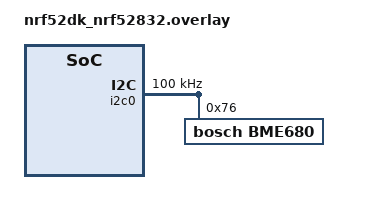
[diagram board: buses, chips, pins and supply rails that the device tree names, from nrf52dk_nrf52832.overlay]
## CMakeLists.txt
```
# SPDX-License-Identifier: Apache-2.0

cmake_minimum_required(VERSION 3.20.0)
find_package(Zephyr REQUIRED HINTS $ENV{ZEPHYR_BASE})
project(periodic_adv)

target_sources(app PRIVATE src/main.c)
target_sources(app PRIVATE src/ui.c)
```

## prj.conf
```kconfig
CONFIG_STDOUT_CONSOLE=y
CONFIG_SERIAL=y
CONFIG_UART_ASYNC_API=y
CONFIG_REBOOT=y

# I2C and Sensor Framework
CONFIG_I2C=y
CONFIG_SENSOR=y
CONFIG_BME680=y

# Required for formatting doubles in printf
CONFIG_NEWLIB_LIBC=y
CONFIG_CBPRINTF_FP_SUPPORT=y
```

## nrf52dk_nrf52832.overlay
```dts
&i2c0 {
    compatible = "nordic,nrf-twim";
    status = "okay";
    clock-frequency = <I2C_BITRATE_STANDARD>;

    bme680@76 {
        compatible = "bosch,bme680";
        reg = <0x76>;      
        label = "BME680";
        status = "okay";
    };
};
```

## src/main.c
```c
#include <zephyr/kernel.h>                 // Includes core Zephyr kernel APIs (threads, sleep, timing)
#include <zephyr/device.h>                 // Provides device driver model and device access functions
#include <zephyr/drivers/sensor.h>         // Enables use of sensor drivers and sensor APIs
#include <zephyr/sys/printk.h>             // Native Zephyr logging (replaced stdio.h)
#include "ui.h"                            // Custom UI header for user interaction functions

int main(void)
{
    if (ui_init() != 0) return -1;        // Initialize the user interface 

    const struct device *bme = DEVICE_DT_GET_ANY(bosch_bme680);

    // Check if the sensor device is ready for use
    if (!device_is_ready(bme))
    {
        printk("Device %s is not ready\n", bme->name); // Print error if device is not ready
        return -1;                                      // Exit the program
    }

    struct sensor_value temp, hum, press; // Removed gas_res as it was unused in your printk

    while (1)
    {
        // Fetch the latest sensor data from the BME680
        if (sensor_sample_fetch(bme) == 0)
        {
            // Read individual sensor channels
            sensor_channel_get(bme, SENSOR_CHAN_AMBIENT_TEMP, &temp);
            sensor_channel_get(bme, SENSOR_CHAN_HUMIDITY, &hum);
            sensor_channel_get(bme, SENSOR_CHAN_PRESS, &press);

            // Print sensor values after converting them to double
            printk("Temperature: %.2f C, Humidity: %.2f %%RH, Pressure: %.2f kPa\n",
       sensor_value_to_double(&temp),
       sensor_value_to_double(&hum),
       sensor_value_to_double(&press) * 10);
        }
        else
        {
             // Print error message if sensor data fetch fails
            printk("Error: Failed to fetch BME680 data\n");
        }
        
        // Get the updated delay interval from the UI 
        int target_ms = ui_get_interval_ms();
        int elapsed_ms = 0;

        // Check for updates every 100ms while waiting for next reading 
        while (elapsed_ms < target_ms) {
            if (ui_interval_changed()) {
                ui_clear_change_flag();
                break; // Restart loop with new interval immediately 
            }
            k_msleep(100);
            elapsed_ms += 100;
        }
    }
    
    return 0;
}
```

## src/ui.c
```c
#include "ui.h"
#include <zephyr/kernel.h>
#include <zephyr/sys/printk.h>
#include <zephyr/sys/reboot.h>
#include <zephyr/drivers/uart.h>
#include <string.h>
#include <stdlib.h>
#include <ctype.h>

#define RX_BUF_SIZE     64
#define RX_TIMEOUT      25 
#define CMD_BUF_SIZE    256

static uint8_t rx_buf[RX_BUF_SIZE];
static char cmd_buf[CMD_BUF_SIZE];
static size_t cmd_len = 0;
static bool interval_updated = false;
static int interval_ms = 1000;

static const struct device *uart_dev = DEVICE_DT_GET(DT_CHOSEN(zephyr_console));

static void process_commands(void) {
    if (cmd_len == 0) return;

    // Ensure the string is null-terminated for string functions
    cmd_buf[cmd_len] = '\0';

    // 1. Check for Restart
    if (strstr(cmd_buf, "restartDevice")) {
        printk("Rebooting...\n");
        k_msleep(50);
        sys_reboot(SYS_REBOOT_COLD);
        return;
    }

    // 2. Check for Set Interval
    char *p = strstr(cmd_buf, "SET_INTERVAL:");
    if (p) {
        p += strlen("SET_INTERVAL:");

        // Skip non-digits (spaces, colons, etc.)
        while (*p != '\0' && !isdigit((unsigned char)*p)) {
            p++;
        }

        if (isdigit((unsigned char)*p)) {
            int value = atoi(p); // atoi reads all digits until a non-digit appears
            if (value > 0) {
                interval_ms = value * 1000;
                interval_updated = true;
                printk("Interval updated to %d seconds\n", value, interval_ms);
            }
        } else {
            printk("Invalid interval value\n");
        }
    }

    // Reset buffer for the next command
    cmd_len = 0;
    memset(cmd_buf, 0, sizeof(cmd_buf));
}

// --- UART Callback Logic ---
static void uart_cb(const struct device *dev, struct uart_event *evt, void *user_data) {
    switch (evt->type) {
    
    case UART_RX_RDY: {
        const uint8_t *data = &evt->data.rx.buf[evt->data.rx.offset];
        for (size_t i = 0; i < evt->data.rx.len; i++) {
            
            // If it's a newline, process IMMEDIATELY
            if (data[i] == '\r' || data[i] == '\n') {
                if (cmd_len > 0) {
                    process_commands(); 
                }
            } 
            // Add characters to buffer
            else if (cmd_len < CMD_BUF_SIZE - 1) {
                cmd_buf[cmd_len++] = data[i];
            }
        }
        
        /* * FIX FOR THE DELAY: 
         * If the user stops typing but didn't hit enter, 
         * we can choose to process after a small amount of data is received
         * to avoid the 10-second wait.
         */
        break;
    }

    case UART_RX_DISABLED:
        // If the UART timed out and we have data that wasn't processed by a newline
        if (cmd_len > 0) {
            process_commands();
        }
        // Immediately re-enable with a shorter timeout (e.g., 10ms - 50ms)
        uart_rx_enable(dev, rx_buf, sizeof(rx_buf), 20); 
        break;

    default:
        break;
    }
}

int ui_init(void) {
    if (!device_is_ready(uart_dev)) return -1;
    uart_callback_set(uart_dev, uart_cb, NULL);
    return uart_rx_enable(uart_dev, rx_buf, sizeof(rx_buf), RX_TIMEOUT);
}

int ui_get_interval_ms(void) { return interval_ms; }
bool ui_interval_changed(void) { return interval_updated; }
void ui_clear_change_flag(void) { interval_updated = false; }
```
